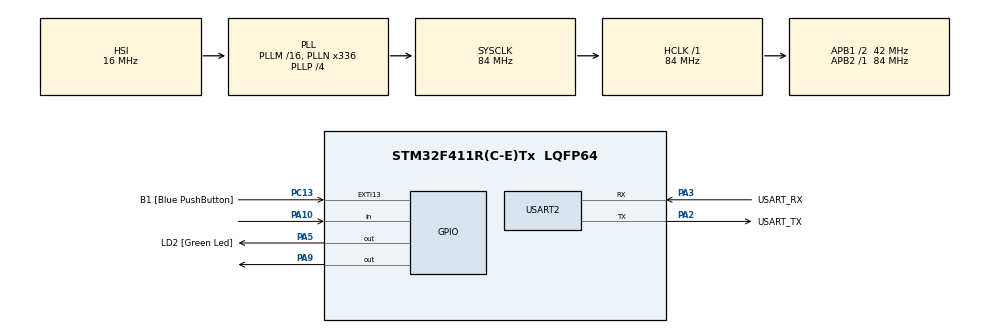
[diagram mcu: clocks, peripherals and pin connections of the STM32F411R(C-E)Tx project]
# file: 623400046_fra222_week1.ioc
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Mcu.Family=STM32F4
Mcu.Name=STM32F411R(C-E)Tx
Mcu.Package=LQFP64
NVIC.PriorityGroup=NVIC_PRIORITYGROUP_0
PA10.Signal=GPIO_Input
PA13.GPIO_Label=TMS
PA13.Mode=Serial_Wire
PA13.Signal=SYS_JTMS-SWDIO
PA14.GPIO_Label=TCK
PA14.Mode=Serial_Wire
PA14.Signal=SYS_JTCK-SWCLK
PA2.GPIO_Label=USART_TX
PA2.Mode=Asynchronous
PA2.Signal=USART2_TX
PA3.GPIO_Label=USART_RX
PA3.Mode=Asynchronous
PA3.Signal=USART2_RX
PA5.GPIO_Label=LD2 [Green Led]
PA5.Signal=GPIO_Output
PA9.Signal=GPIO_Output
PB3.GPIO_Label=SWO
PB3.Signal=SYS_JTDO-SWO
PC13-ANTI_TAMP.GPIO_Label=B1 [Blue PushButton]
PC13-ANTI_TAMP.GPIO_ModeDefaultEXTI=GPIO_MODE_IT_FALLING
PC13-ANTI_TAMP.Signal=GPXTI13
PC14-OSC32_IN.Mode=LSE-External-Oscillator
PC14-OSC32_IN.Signal=RCC_OSC32_IN
PC15-OSC32_OUT.Mode=LSE-External-Oscillator
PC15-OSC32_OUT.Signal=RCC_OSC32_OUT
PH0\ -\ OSC_IN.Mode=HSE-External-Clock-Source
PH0\ -\ OSC_IN.Signal=RCC_OSC_IN
PH1\ -\ OSC_OUT.Mode=HSE-External-Clock-Source
PH1\ -\ OSC_OUT.Signal=RCC_OSC_OUT
ProjectManager.HeapSize=0x200
ProjectManager.StackSize=0x400
ProjectManager.TargetToolchain=STM32CubeIDE
RCC.48MHZClocksFreq_Value=84000000
RCC.AHBFreq_Value=84000000
RCC.APB1CLKDivider=RCC_HCLK_DIV2
RCC.APB1Freq_Value=42000000
RCC.APB1TimFreq_Value=84000000
RCC.APB2Freq_Value=84000000
RCC.APB2TimFreq_Value=84000000
RCC.CortexFreq_Value=84000000
RCC.FLatency-AdvancedSettings=FLASH_LATENCY_2
RCC.HCLKFreq_Value=84000000
RCC.HSE_VALUE=8000000
RCC.HSI_VALUE=16000000
RCC.PLLN=336
RCC.PLLP=RCC_PLLP_DIV4
RCC.SYSCLKFreq_VALUE=84000000
RCC.SYSCLKSource=RCC_SYSCLKSOURCE_PLLCLK
RCC.VCOOutputFreq_Value=336000000
USART2.VirtualMode=VM_ASYNC
board=NUCLEO-F411RE

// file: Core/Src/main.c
/* USER CODE BEGIN Header */
/**
  ******************************************************************************
  * @file           : main.c
  * @brief          : Main program body
  ******************************************************************************
  * @attention
  *
  * <h2><center>&copy; Copyright (c) 2021 STMicroelectronics.
  * All rights reserved.</center></h2>
  *
  * This software component is licensed by ST under BSD 3-Clause license,
  * the "License"; You may not use this file except in compliance with the
  * License. You may obtain a copy of the License at:
  *                        opensource.org/licenses/BSD-3-Clause
  *
  ******************************************************************************
  */
/* USER CODE END Header */
#include "main.h"

UART_HandleTypeDef huart2;

void SystemClock_Config(void);
static void MX_GPIO_Init(void);
static void MX_USART2_UART_Init(void);

int main(void)
{

  /* MCU Configuration--------------------------------------------------------*/

  /* Reset of all peripherals, Initializes the Flash interface and the Systick. */
  HAL_Init();

  /* Configure the system clock */
  SystemClock_Config();

  /* Initialize all configured peripherals */
  MX_GPIO_Init();
  MX_USART2_UART_Init();
  /* USER CODE BEGIN 2 */
  GPIO_PinState SwitchState[2];
  uint16_t LED1_HalfPeriod = 500; //Hz
  uint32_t TimeStamp = 0;
  uint32_t BTimeStamp = 0;
  /* USER CODE END 2 */

  /* Infinite loop */
  while (1)
  {

    /* USER CODE BEGIN 3 */

	if(HAL_GetTick() - BTimeStamp >= 100)
	{
	  BTimeStamp = HAL_GetTick();
	  SwitchState[0] = HAL_GPIO_ReadPin(GPIOA, GPIO_PIN_10);
		 if(SwitchState[0] == GPIO_PIN_SET && SwitchState[1] == GPIO_PIN_RESET)
		 {
		  if(LED1_HalfPeriod == 500)
		  {
		   LED1_HalfPeriod = 100;
		  }
		  else
		  {
		   LED1_HalfPeriod = 500;
		  }
		 }
		 SwitchState[1] = SwitchState[0];
	}
	//Run LED
	if(HAL_GetTick() - TimeStamp >= LED1_HalfPeriod)
	{
		TimeStamp = HAL_GetTick();
		if (HAL_GPIO_ReadPin(GPIOA, GPIO_PIN_9)==GPIO_PIN_SET)
		{
		 HAL_GPIO_WritePin(GPIOA, GPIO_PIN_9, GPIO_PIN_RESET);
		}
		else
		{
		 HAL_GPIO_WritePin(GPIOA, GPIO_PIN_9, GPIO_PIN_SET);
		}
	}
  }
  /* USER CODE END 3 */
}

void SystemClock_Config(void)
{
  RCC_OscInitTypeDef RCC_OscInitStruct = {0};
  RCC_ClkInitTypeDef RCC_ClkInitStruct = {0};

  /** Configure the main internal regulator output voltage
  */
  __HAL_RCC_PWR_CLK_ENABLE();
  __HAL_PWR_VOLTAGESCALING_CONFIG(PWR_REGULATOR_VOLTAGE_SCALE1);
  /** Initializes the RCC Oscillators according to the specified parameters
  * in the RCC_OscInitTypeDef structure.
  */
  RCC_OscInitStruct.OscillatorType = RCC_OSCILLATORTYPE_HSI;
  RCC_OscInitStruct.HSIState = RCC_HSI_ON;
  RCC_OscInitStruct.HSICalibrationValue = RCC_HSICALIBRATION_DEFAULT;
  RCC_OscInitStruct.PLL.PLLState = RCC_PLL_ON;
  RCC_OscInitStruct.PLL.PLLSource = RCC_PLLSOURCE_HSI;
  RCC_OscInitStruct.PLL.PLLM = 16;
  RCC_OscInitStruct.PLL.PLLN = 336;
  RCC_OscInitStruct.PLL.PLLP = RCC_PLLP_DIV4;
  RCC_OscInitStruct.PLL.PLLQ = 4;
  if (HAL_RCC_OscConfig(&RCC_OscInitStruct) != HAL_OK)
  {
    Error_Handler();
  }
  /** Initializes the CPU, AHB and APB buses clocks
  */
  RCC_ClkInitStruct.ClockType = RCC_CLOCKTYPE_HCLK|RCC_CLOCKTYPE_SYSCLK
                              |RCC_CLOCKTYPE_PCLK1|RCC_CLOCKTYPE_PCLK2;
  RCC_ClkInitStruct.SYSCLKSource = RCC_SYSCLKSOURCE_PLLCLK;
  RCC_ClkInitStruct.AHBCLKDivider = RCC_SYSCLK_DIV1;
  RCC_ClkInitStruct.APB1CLKDivider = RCC_HCLK_DIV2;
  RCC_ClkInitStruct.APB2CLKDivider = RCC_HCLK_DIV1;

  if (HAL_RCC_ClockConfig(&RCC_ClkInitStruct, FLASH_LATENCY_2) != HAL_OK)
  {
    Error_Handler();
  }
}

static void MX_USART2_UART_Init(void)
{

  huart2.Instance = USART2;
  huart2.Init.BaudRate = 115200;
  huart2.Init.WordLength = UART_WORDLENGTH_8B;
  huart2.Init.StopBits = UART_STOPBITS_1;
  huart2.Init.Parity = UART_PARITY_NONE;
  huart2.Init.Mode = UART_MODE_TX_RX;
  huart2.Init.HwFlowCtl = UART_HWCONTROL_NONE;
  huart2.Init.OverSampling = UART_OVERSAMPLING_16;
  if (HAL_UART_Init(&huart2) != HAL_OK)
  {
    Error_Handler();
  }

}

static void MX_GPIO_Init(void)
{
  GPIO_InitTypeDef GPIO_InitStruct = {0};

  /* GPIO Ports Clock Enable */
  __HAL_RCC_GPIOC_CLK_ENABLE();
  __HAL_RCC_GPIOH_CLK_ENABLE();
  __HAL_RCC_GPIOA_CLK_ENABLE();
  __HAL_RCC_GPIOB_CLK_ENABLE();

  /*Configure GPIO pin Output Level */
  HAL_GPIO_WritePin(GPIOA, LD2_Pin|GPIO_PIN_9, GPIO_PIN_RESET);

  /*Configure GPIO pin : B1_Pin */
  GPIO_InitStruct.Pin = B1_Pin;
  GPIO_InitStruct.Mode = GPIO_MODE_IT_FALLING;
  GPIO_InitStruct.Pull = GPIO_NOPULL;
  HAL_GPIO_Init(B1_GPIO_Port, &GPIO_InitStruct);

  /*Configure GPIO pins : LD2_Pin PA9 */
  GPIO_InitStruct.Pin = LD2_Pin|GPIO_PIN_9;
  GPIO_InitStruct.Mode = GPIO_MODE_OUTPUT_PP;
  GPIO_InitStruct.Pull = GPIO_NOPULL;
  GPIO_InitStruct.Speed = GPIO_SPEED_FREQ_LOW;
  HAL_GPIO_Init(GPIOA, &GPIO_InitStruct);

  /*Configure GPIO pin : PA10 */
  GPIO_InitStruct.Pin = GPIO_PIN_10;
  GPIO_InitStruct.Mode = GPIO_MODE_INPUT;
  GPIO_InitStruct.Pull = GPIO_NOPULL;
  HAL_GPIO_Init(GPIOA, &GPIO_InitStruct);

}

void Error_Handler(void)
{
  __disable_irq();
  while (1)
  {
  }
}

/************************ (C) COPYRIGHT STMicroelectronics *****END OF FILE****/
